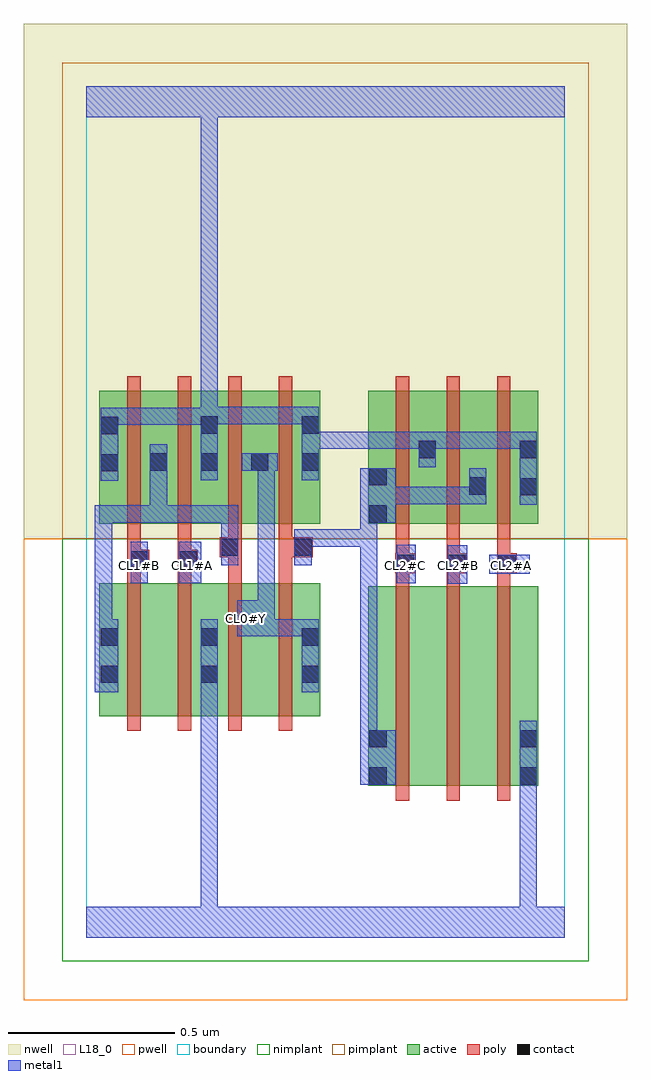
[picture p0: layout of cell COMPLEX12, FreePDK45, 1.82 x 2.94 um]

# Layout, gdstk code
import gdstk
lib = gdstk.Library(unit=1e-6, precision=1e-09)
def R(c, l, rs):  # rectangles x0, y0, x1, y1
    for r in rs: c.add(gdstk.rectangle(r[:2], r[2:], *l))
def A(c, l, x, y, w, h, nx, ny, dx, dy):  # array of equal rectangles
    R(c, l, [(x+i*dx, y+j*dy, x+i*dx+w, y+j*dy+h) for i in range(nx) for j in range(ny)])
active = (1, 0)
pwell = (2, 0)
nwell = (3, 0)
nimplant = (4, 0)
pimplant = (5, 0)
poly = (9, 0)
contact = (10, 0)
metal1 = (11, 0)
L18_0 = (18, 0)
boundary = (235, 0)

complex12 = lib.new_cell('COMPLEX12')
A(complex12, active, 0.188, 1.244, 0.212, 0.4, 3, 1, 0.152, 0)
A(complex12, active, 0.996, 1.244, 0.06, 0.4, 3, 1, 0.152, 0)
R(complex12, active, [(0.848,0.456,0.908,1.056), (0.848,0.456,1.028,1.056), (1.028,0.456,1.18,1.056), (1.18,0.456,1.36,1.056), (1.3,0.456,1.36,1.056), (0.04,0.666,0.22,1.066), (0.22,0.666,0.4,1.066), (0.34,0.666,0.524,1.066), (0.524,0.666,0.704,1.066), (0.04,0.756,0.1,1.066), (0.34,0.756,0.4,0.934), (0.644,0.756,0.704,1.066), (0.04,1.244,0.1,1.644), (0.04,1.244,0.248,1.644), (0.188,1.244,0.248,1.644), (0.34,1.244,0.4,1.644), (0.644,1.244,0.704,1.644), (0.848,1.244,0.908,1.644), (0.848,1.244,1.056,1.644), (0.996,1.244,1.208,1.644), (1.148,1.244,1.36,1.644), (0.492,1.4,0.552,1.644)])
R(complex12, pwell, [(-0.188,-0.188,1.628,1.2)])
R(complex12, nwell, [(-0.188,1.2,1.628,2.748)])
R(complex12, nimplant, [(-0.072,-0.072,1.512,1.2)])
R(complex12, pimplant, [(-0.072,1.2,1.512,2.632)])
A(complex12, poly, 0.932, 0.412, 0.04, 0.688, 3, 1, 0.152, 0)
A(complex12, poly, 0.124, 0.622, 0.04, 0.488, 4, 2, 0.152, 0.578)
A(complex12, poly, 0.932, 1.06, 0.04, 0.076, 3, 1, 0.152, 0)
A(complex12, poly, 0.932, 1.116, 0.04, 0.124, 3, 1, 0.152, 0)
A(complex12, poly, 0.932, 1.2, 0.04, 0.488, 3, 1, 0.152, 0)
R(complex12, poly, [(0.124,1.07,0.164,1.146), (0.276,1.07,0.316,1.146), (0.428,1.07,0.468,1.184), (0.58,1.07,0.62,1.184), (0.93,1.096,0.99,1.156), (0.932,1.096,0.972,1.136), (0.932,1.096,0.972,1.136), (1.084,1.096,1.124,1.136), (1.084,1.096,1.124,1.136), (1.084,1.096,1.144,1.156), (1.236,1.096,1.276,1.136), (1.236,1.096,1.276,1.136), (1.236,1.096,1.296,1.156), (0.124,1.106,0.19,1.166), (0.276,1.106,0.336,1.166), (0.124,1.126,0.164,1.166), (0.124,1.126,0.164,1.166), (0.124,1.126,0.164,1.24), (0.276,1.126,0.316,1.166), (0.276,1.126,0.316,1.166), (0.276,1.126,0.316,1.24), (0.402,1.144,0.468,1.204), (0.428,1.144,0.468,1.184), (0.428,1.144,0.468,1.184), (0.58,1.144,0.62,1.184), (0.58,1.144,0.62,1.184), (0.58,1.144,0.682,1.204), (0.428,1.164,0.468,1.24), (0.58,1.164,0.62,1.24)])
A(complex12, contact, 0.192, 1.404, 0.052, 0.052, 4, 1, 0.152, 0)
R(complex12, contact, [(0.852,0.46,0.904,0.512), (1.304,0.46,1.356,0.512), (0.852,0.572,0.904,0.624), (1.304,0.572,1.356,0.624), (0.044,0.766,0.096,0.818), (0.344,0.766,0.396,0.818), (0.648,0.766,0.7,0.818), (0.044,0.878,0.096,0.93), (0.344,0.878,0.396,0.93), (0.648,0.878,0.7,0.93), (0.934,1.1,0.986,1.152), (1.088,1.1,1.14,1.152), (1.24,1.1,1.292,1.152), (0.134,1.11,0.186,1.162), (0.28,1.11,0.332,1.162), (0.406,1.148,0.458,1.2), (0.626,1.148,0.678,1.2), (0.852,1.248,0.904,1.3), (1.304,1.33,1.356,1.382), (1.152,1.332,1.204,1.384), (0.852,1.36,0.904,1.412), (0.044,1.402,0.096,1.454), (1,1.442,1.052,1.494), (1.304,1.442,1.356,1.494), (0.044,1.514,0.096,1.566), (0.344,1.516,0.396,1.568), (0.648,1.516,0.7,1.568)])
A(complex12, metal1, 1, 1.47, 0.052, 0.052, 3, 1, 0.152, 0)
R(complex12, metal1, [(0,0,1.44,0.092), (0.344,0.04,0.396,0.092), (0.344,0.04,0.396,0.092), (0.344,0.04,0.396,0.092), (0.344,0.04,0.396,0.092), (0.344,0.04,0.396,0.092), (0.344,0.04,0.396,0.092), (0.344,0.04,0.396,0.092), (0.344,0.04,0.396,0.092), (0.344,0.04,0.396,0.092), (0.344,0.04,0.396,0.092), (0.344,0.04,0.396,0.092), (0.344,0.04,0.396,0.092), (0.344,0.04,0.396,0.79), (1.304,0.04,1.356,0.092), (1.304,0.04,1.356,0.092), (1.304,0.04,1.356,0.484), (1.304,0.432,1.356,0.484), (1.304,0.432,1.356,0.484), (1.304,0.432,1.356,0.484), (1.304,0.432,1.356,0.484), (1.304,0.432,1.356,0.484), (1.304,0.432,1.356,0.484), (1.304,0.432,1.356,0.652), (0.824,0.46,0.932,0.624), (0.824,0.572,0.876,0.624), (0.824,0.572,0.876,0.624), (0.824,0.572,0.876,1.228), (0.026,0.738,0.096,0.958), (0.344,0.738,0.396,0.958), (0.648,0.738,0.7,0.958), (0.026,0.906,0.078,0.958), (0.026,0.906,0.078,0.958), (0.026,0.906,0.078,1.3), (0.454,0.906,0.568,1.014), (0.516,0.906,0.568,0.958), (0.516,0.906,0.568,0.958), (0.516,0.906,0.7,0.958), (0.648,0.906,0.7,0.958), (0.648,0.906,0.7,0.958), (0.516,0.962,0.568,1.014), (0.516,0.962,0.568,1.014), (0.516,0.962,0.568,1.456), (1.088,1.064,1.146,1.18), (0.134,1.066,0.186,1.19), (0.28,1.066,0.346,1.19), (0.934,1.066,0.992,1.182), (1.212,1.094,1.334,1.152), (0.406,1.12,0.458,1.3), (0.626,1.12,0.678,1.228), (0.626,1.176,0.678,1.228), (0.626,1.176,0.678,1.228), (0.626,1.176,0.876,1.228), (0.824,1.176,0.876,1.228), (0.824,1.176,0.876,1.3), (0.026,1.248,0.078,1.3), (0.026,1.248,0.078,1.3), (0.026,1.248,0.078,1.3), (0.026,1.248,0.244,1.3), (0.192,1.248,0.244,1.3), (0.192,1.248,0.244,1.3), (0.192,1.248,0.244,1.3), (0.192,1.248,0.396,1.3), (0.192,1.248,0.244,1.428), (0.344,1.248,0.396,1.3), (0.344,1.248,0.458,1.3), (0.824,1.248,0.932,1.412), (1.304,1.302,1.356,1.522), (0.88,1.304,0.932,1.356), (0.88,1.304,0.932,1.356), (0.88,1.304,1.094,1.356), (1.042,1.304,1.094,1.356), (1.042,1.304,1.094,1.356), (1.042,1.304,1.094,1.356), (1.042,1.304,1.204,1.356), (1.152,1.304,1.204,1.412), (0.044,1.374,0.096,1.594), (0.192,1.376,0.244,1.484), (0.344,1.376,0.396,1.596), (0.648,1.376,0.7,1.596), (0.468,1.404,0.576,1.456), (1,1.414,1.052,1.522), (0.648,1.47,0.942,1.522), (0.89,1.47,0.942,1.522), (0.89,1.47,0.942,1.522), (0.89,1.47,0.942,1.522), (0.89,1.47,1.052,1.522), (1,1.47,1.052,1.522), (1,1.47,1.204,1.522), (1.152,1.47,1.356,1.522), (1.304,1.47,1.356,1.522), (0.044,1.542,0.096,1.594), (0.044,1.542,0.096,1.594), (0.044,1.542,0.206,1.594), (0.154,1.542,0.206,1.594), (0.154,1.542,0.206,1.594), (0.154,1.542,0.206,1.594), (0.154,1.542,0.396,1.594), (0.344,1.544,0.396,1.596), (0.344,1.544,0.396,1.596), (0.344,1.544,0.396,1.596), (0.344,1.544,0.396,1.596), (0.344,1.544,0.396,1.596), (0.344,1.544,0.396,1.596), (0.344,1.544,0.396,1.596), (0.344,1.544,0.396,1.596), (0.344,1.544,0.396,1.596), (0.344,1.544,0.396,1.596), (0.344,1.544,0.396,1.596), (0.344,1.544,0.396,1.596), (0.344,1.544,0.396,1.596), (0.344,1.544,0.396,1.596), (0.344,1.544,0.396,1.596), (0.344,1.544,0.396,1.596), (0.344,1.544,0.568,1.596), (0.344,1.544,0.396,2.52), (0.516,1.544,0.568,1.596), (0.516,1.544,0.568,1.596), (0.516,1.544,0.568,1.596), (0.516,1.544,0.7,1.596), (0,2.468,1.44,2.56), (0.344,2.468,0.396,2.52), (0.344,2.468,0.396,2.52)])
A(complex12, L18_0, 0.934, 1.094, 0.052, 0.052, 3, 1, 0.16, 0)
A(complex12, L18_0, 1, 1.47, 0.052, 0.052, 3, 1, 0.152, 0)
R(complex12, L18_0, [(0,0,1.44,0.092), (0.344,0.04,0.396,0.092), (0.344,0.04,0.396,0.092), (0.344,0.04,0.396,0.092), (0.344,0.04,0.396,0.092), (0.344,0.04,0.396,0.092), (0.344,0.04,0.396,0.092), (0.344,0.04,0.396,0.092), (0.344,0.04,0.396,0.092), (0.344,0.04,0.396,0.092), (0.344,0.04,0.396,0.092), (0.344,0.04,0.396,0.092), (0.344,0.04,0.396,0.092), (0.344,0.04,0.396,0.79), (1.304,0.04,1.356,0.092), (1.304,0.04,1.356,0.092), (1.304,0.04,1.356,0.484), (1.304,0.432,1.356,0.652), (1.304,0.432,1.356,0.484), (1.304,0.432,1.356,0.484), (1.304,0.432,1.356,0.484), (1.304,0.432,1.356,0.484), (1.304,0.432,1.356,0.484), (1.304,0.432,1.356,0.484), (0.344,0.738,0.396,0.958), (0.648,0.738,0.7,0.958), (0.454,0.906,0.568,1.014), (0.516,0.906,0.568,0.958), (0.516,0.906,0.568,0.958), (0.516,0.906,0.7,0.958), (0.648,0.906,0.7,0.958), (0.648,0.906,0.7,0.958), (0.454,0.934,0.506,0.986), (0.516,0.962,0.568,1.014), (0.516,0.962,0.568,1.014), (0.516,0.962,0.568,1.456), (1.088,1.064,1.146,1.18), (0.134,1.066,0.186,1.19), (0.28,1.066,0.346,1.19), (0.934,1.066,0.992,1.182), (0.134,1.094,0.186,1.146), (0.294,1.094,0.346,1.146), (1.212,1.094,1.334,1.152), (1.304,1.302,1.356,1.522), (0.044,1.374,0.096,1.594), (0.344,1.376,0.396,1.596), (0.648,1.376,0.7,1.596), (0.468,1.404,0.576,1.456), (1,1.414,1.052,1.522), (0.648,1.47,0.942,1.522), (0.89,1.47,0.942,1.522), (0.89,1.47,0.942,1.522), (0.89,1.47,0.942,1.522), (0.89,1.47,1.052,1.522), (1,1.47,1.052,1.522), (1,1.47,1.204,1.522), (1.152,1.47,1.356,1.522), (1.304,1.47,1.356,1.522), (0.044,1.542,0.096,1.594), (0.044,1.542,0.096,1.594), (0.044,1.542,0.206,1.594), (0.154,1.542,0.206,1.594), (0.154,1.542,0.206,1.594), (0.154,1.542,0.206,1.594), (0.154,1.542,0.396,1.594), (0.344,1.544,0.396,1.596), (0.344,1.544,0.396,1.596), (0.344,1.544,0.396,1.596), (0.344,1.544,0.396,1.596), (0.344,1.544,0.396,1.596), (0.344,1.544,0.396,1.596), (0.344,1.544,0.396,1.596), (0.344,1.544,0.396,1.596), (0.344,1.544,0.396,1.596), (0.344,1.544,0.396,1.596), (0.344,1.544,0.396,1.596), (0.344,1.544,0.396,1.596), (0.344,1.544,0.396,1.596), (0.344,1.544,0.396,1.596), (0.344,1.544,0.396,1.596), (0.344,1.544,0.396,1.596), (0.344,1.544,0.396,2.52), (0.344,1.544,0.568,1.596), (0.516,1.544,0.568,1.596), (0.516,1.544,0.568,1.596), (0.516,1.544,0.568,1.596), (0.516,1.544,0.7,1.596), (0,2.468,1.44,2.56), (0.344,2.468,0.396,2.52), (0.344,2.468,0.396,2.52)])
R(complex12, boundary, [(0,0,1.44,2.56)])
complex12.add(gdstk.Label('CL0#Y', (0.48,0.96), layer=11, texttype=0))
complex12.add(gdstk.Label('CL1#A', (0.32,1.12), layer=11, texttype=0))
complex12.add(gdstk.Label('CL1#B', (0.16,1.12), layer=11, texttype=0))
complex12.add(gdstk.Label('CL2#A', (1.28,1.12), layer=11, texttype=0))
complex12.add(gdstk.Label('CL2#B', (1.12,1.12), layer=11, texttype=0))
complex12.add(gdstk.Label('CL2#C', (0.96,1.12), layer=11, texttype=0))

lib.write_gds('COMPLEX12.gds')
